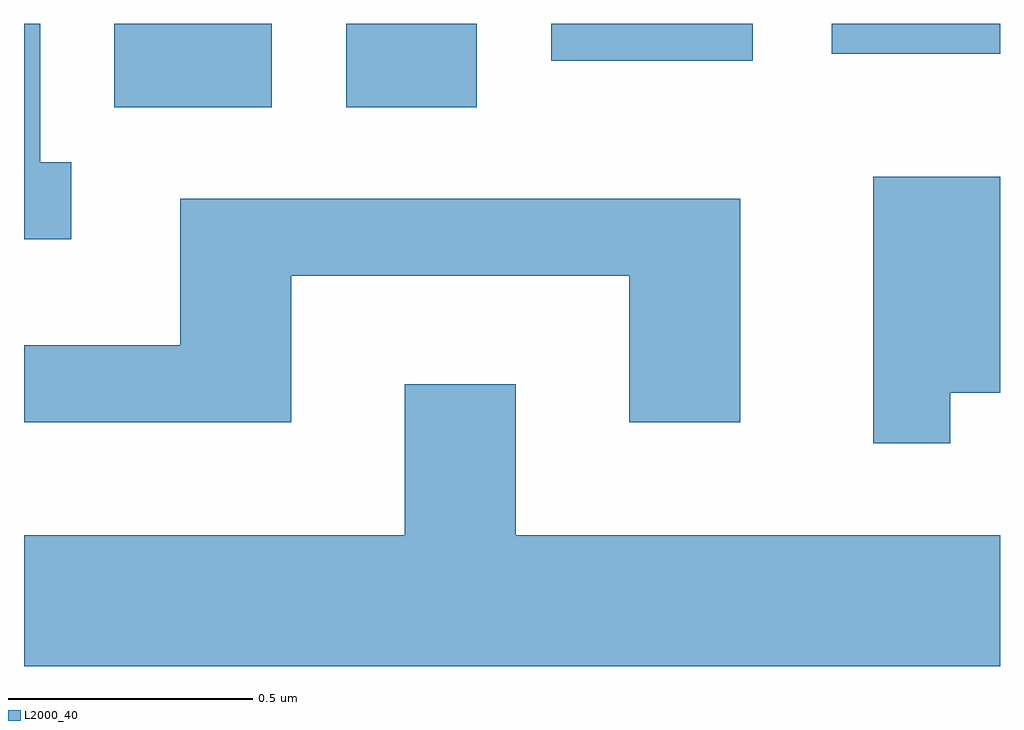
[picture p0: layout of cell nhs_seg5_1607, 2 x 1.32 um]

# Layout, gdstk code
import gdstk
lib = gdstk.Library(unit=1e-6, precision=1e-09)
def R(c, l, rs):  # rectangles x0, y0, x1, y1
    for r in rs: c.add(gdstk.rectangle(r[:2], r[2:], *l))
def P(c, l, *ps):  # polygons
    for p in ps: c.add(gdstk.Polygon(p, *l))
L2000_40 = (2000, 40)

nhs_seg5_1607 = lib.new_cell('nhs_seg5_1607')
R(nhs_seg5_1607, L2000_40, [(196.796,1497.901,197.119,1498.072), (197.271,1497.901,197.539,1498.072), (197.691,1497.996,198.104,1498.072), (198.266,1498.011,198.611,1498.072)])
P(nhs_seg5_1607, L2000_40, [(196.708,1497.789),(196.644,1497.789),(196.644,1498.072),(196.611,1498.072),(196.611,1497.631),(196.708,1497.631)],
  [(198.509,1497.316),(198.611,1497.316),(198.611,1497.759),(198.351,1497.759),(198.351,1497.213),(198.509,1497.213)],
  [(197.159,1497.556),(197.851,1497.556),(197.851,1497.256),(198.079,1497.256),(198.079,1497.714),(196.931,1497.714),(196.931,1497.414),(196.611,1497.414),(196.611,1497.256),(197.159,1497.256)],
  [(198.611,1497.024),(197.619,1497.024),(197.619,1497.334),(197.391,1497.334),(197.391,1497.024),(196.611,1497.024),(196.611,1496.756),(198.611,1496.756)])

lib.write_gds('nhs_seg5_1607.gds')
